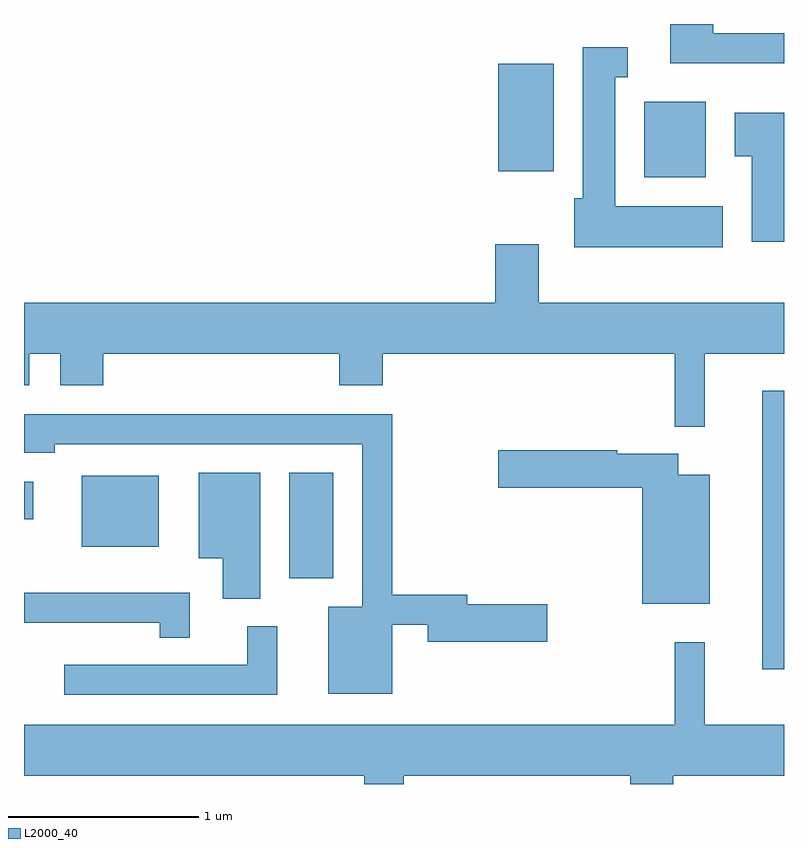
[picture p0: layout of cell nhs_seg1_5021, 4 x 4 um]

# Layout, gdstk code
import gdstk
lib = gdstk.Library(unit=1e-6, precision=1e-09)
def R(c, l, rs):  # rectangles x0, y0, x1, y1
    for r in rs: c.add(gdstk.rectangle(r[:2], r[2:], *l))
def P(c, l, *ps):  # polygons
    for p in ps: c.add(gdstk.Polygon(p, *l))
L2000_40 = (2000, 40)

nhs_seg1_5021 = lib.new_cell('nhs_seg1_5021')
R(nhs_seg1_5021, L2000_40, [(339.496,942.316,339.611,943.783), (337.006,942.796,337.239,943.349), (335.916,942.961,336.319,943.334), (335.611,943.106,335.659,943.304), (338.876,944.906,339.199,945.304), (338.106,944.936,338.399,945.504)])
P(nhs_seg1_5021, L2000_40, [(339.611,945.664),(339.239,945.664),(339.239,945.712),(339.011,945.712),(339.011,945.506),(339.611,945.506)],
  [(339.289,944.754),(338.724,944.754),(338.724,945.431),(338.788,945.431),(338.788,945.589),(338.551,945.589),(338.551,944.794),(338.506,944.794),(338.506,944.536),(339.289,944.536)],
  [(339.611,945.244),(339.351,945.244),(339.351,945.016),(339.441,945.016),(339.441,944.566),(339.611,944.566)],
  [(339.194,943.976),(339.611,943.976),(339.611,944.244),(338.319,944.244),(338.319,944.554),(338.091,944.554),(338.091,944.244),(335.611,944.244),(335.611,943.811),(335.639,943.811),(335.639,943.976),(335.801,943.976),(335.801,943.811),(336.029,943.811),(336.029,943.976),(337.271,943.976),(337.271,943.811),(337.499,943.811),(337.499,943.976),(339.036,943.976),(339.036,943.593),(339.194,943.593)],
  [(337.549,942.551),(337.736,942.551),(337.736,942.461),(338.364,942.461),(338.364,942.659),(337.944,942.659),(337.944,942.709),(337.549,942.709),(337.549,943.659),(335.611,943.659),(335.611,943.456),(335.774,943.456),(335.774,943.501),(337.391,943.501),(337.391,942.644),(337.211,942.644),(337.211,942.186),(337.549,942.186)],
  [(339.219,943.339),(339.054,943.339),(339.054,943.449),(338.734,943.449),(338.734,943.469),(338.106,943.469),(338.106,943.271),(338.866,943.271),(338.866,942.661),(339.219,942.661)],
  [(336.854,943.349),(336.531,943.349),(336.531,942.901),(336.656,942.901),(336.656,942.686),(336.854,942.686)],
  [(336.484,942.719),(335.611,942.719),(335.611,942.561),(336.326,942.561),(336.326,942.483),(336.484,942.483)],
  [(336.944,942.543),(336.786,942.543),(336.786,942.339),(335.823,942.339),(335.823,942.181),(336.944,942.181)],
  [(337.609,941.756),(338.801,941.756),(338.801,941.712),(339.029,941.712),(339.029,941.756),(339.611,941.756),(339.611,942.024),(339.194,942.024),(339.194,942.458),(339.036,942.458),(339.036,942.024),(335.611,942.024),(335.611,941.756),(337.401,941.756),(337.401,941.712),(337.609,941.712)])

lib.write_gds('nhs_seg1_5021.gds')
